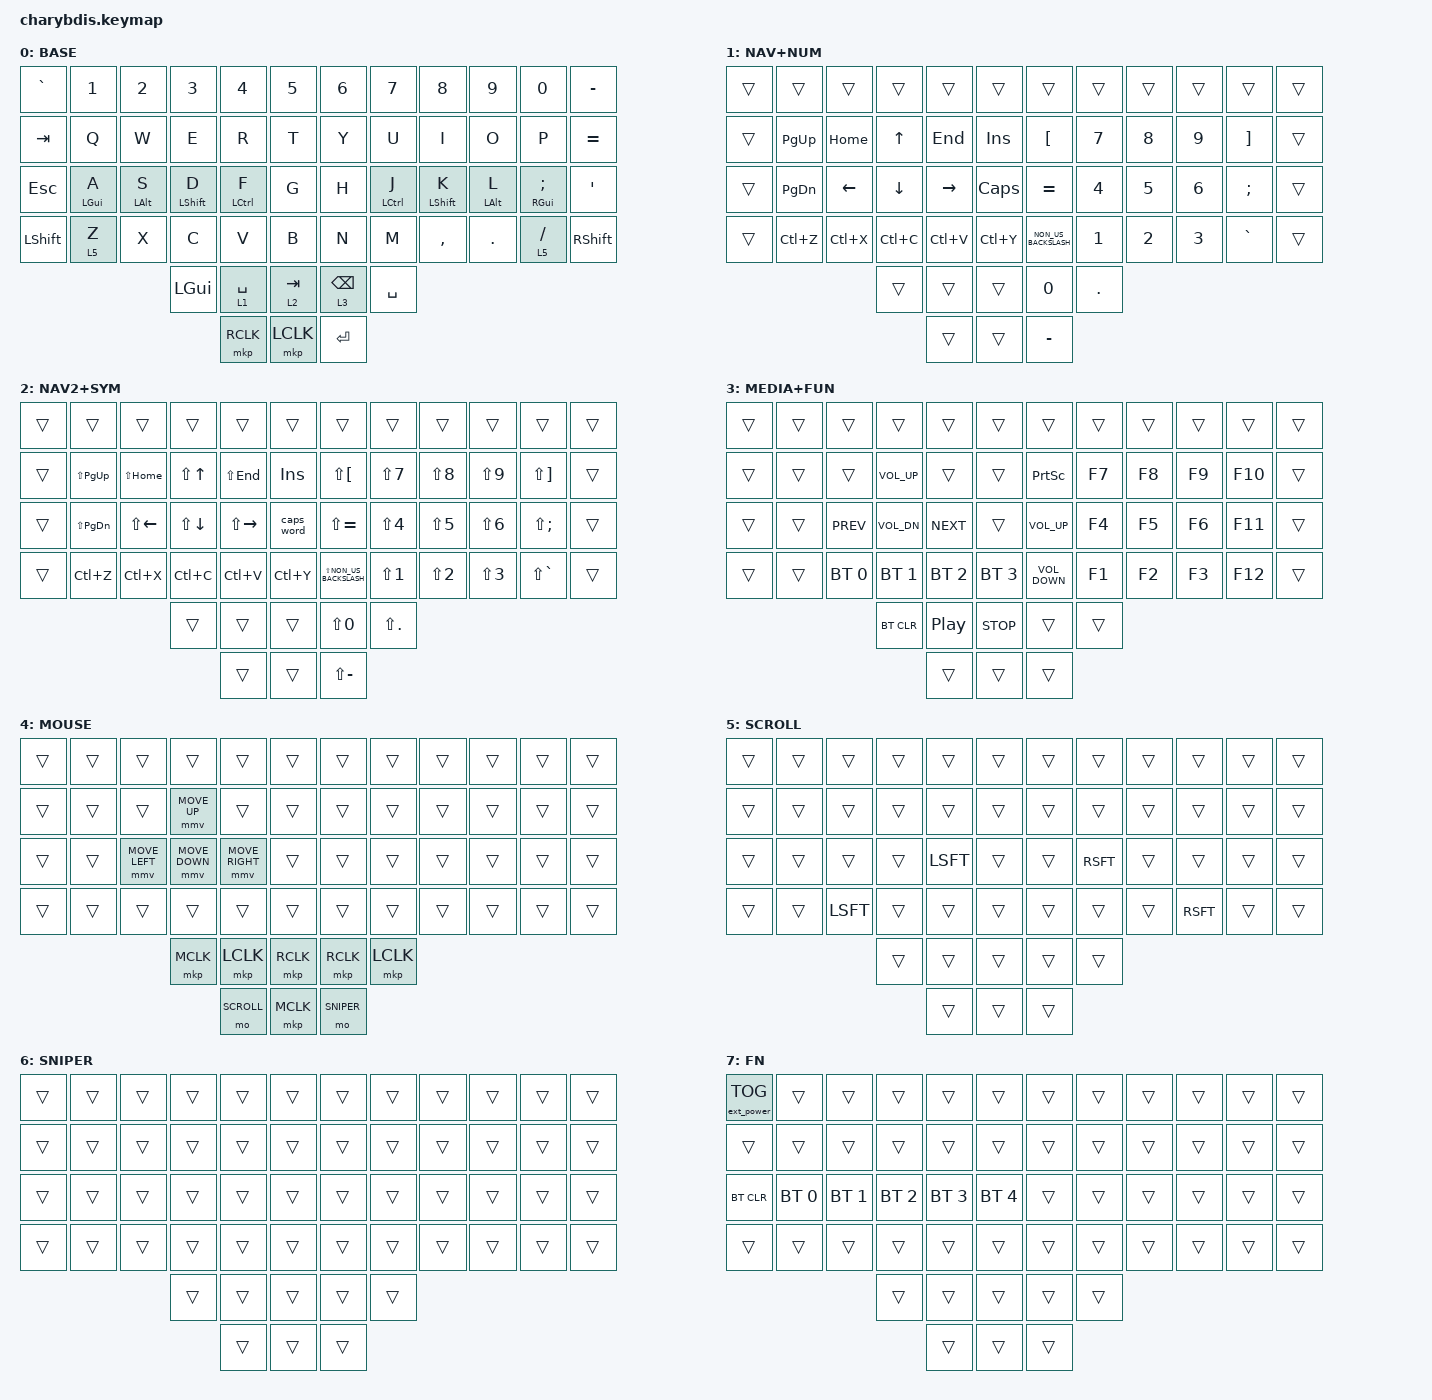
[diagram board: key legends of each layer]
#include <dt-bindings/zmk/mouse.h>
#include <behaviors/mouse_keys.dtsi>
#include <behaviors.dtsi>
#include <dt-bindings/zmk/bt.h>
#include <dt-bindings/zmk/ext_power.h>
#include <dt-bindings/zmk/keys.h>
#include <dt-bindings/zmk/pointing.h>

// ──────────────────────────────────────────────
// Layer indices
// ──────────────────────────────────────────────

#define BASE    0   // QWERTY + HRM
#define LAYER_A 1   // hold SPACE  → NAV1 (esq) + NUM (dir)
#define LAYER_B 2   // hold TAB    → NAV2+Shift (esq) + SYM (dir)
#define LAYER_C 3   // hold BSPC   → MEDIA (esq) + FUN (dir)
#define MOUSE   4   // acionado pela trackball
#define SCROLL  5   // trackball scroll
#define SNIPER  6   // trackball snipe
#define FN      7   // Bluetooth / sistema

// ──────────────────────────────────────────────
// Key positions (Charybdis 4x6)
//
// ╭──────────────────────────╮ ╭──────────────────────────╮
// │  0   1   2   3   4   5  │ │  6   7   8   9  10  11   │
// │ 12  13  14  15  16  17  │ │ 18  19  20  21  22  23   │
// │ 24  25  26  27  28  29  │ │ 30  31  32  33  34  35   │
// │ 36  37  38  39  40  41  │ │ 42  43  44  45  46  47   │
// │          48  49  50     │ │ 51  52                   │
// │              53  54     │ │ 55                       │
// ╰──────────────────────────╯ ╰──────────────────────────╯
//
// QWERTY:
// Row0:  `(0)  1(1)  2(2)  3(3)  4(4)  5(5)  |  6(6)  7(7)  8(8)  9(9)  0(10) -(11)
// Row1: Tab(12) Q(13) W(14) E(15) R(16) T(17) |  Y(18) U(19) I(20) O(21) P(22) =(23)
// Row2: Esc(24) A(25) S(26) D(27) F(28) G(29) |  H(30) J(31) K(32) L(33) ;(34) '(35)
// Row3: Sft(36) Z(37) X(38) C(39) V(40) B(41) |  N(42) M(43) ,(44) .(45) /(46) Sft(47)
// ThumbL:              48    49    50           |  51    52
// ThumbL2:                   53    54           |  55
// ──────────────────────────────────────────────

/ {
    // ── Trackball listeners ──────────────────────────────────────

    trackball_listener {
        compatible = "zmk,input-behavior-listener";
        device = <&vtrackball>;
        layers = <BASE MOUSE FN>;
        evt-type = <INPUT_EV_REL>;
        x-input-code = <INPUT_REL_X>;
        y-input-code = <INPUT_REL_Y>;
        scale-multiplier = <1>;
        scale-divisor = <2>;
    };

    trackball_snipe_listener {
        compatible = "zmk,input-behavior-listener";
        device = <&vtrackball>;
        layers = <SNIPER>;
        evt-type = <INPUT_EV_REL>;
        x-input-code = <INPUT_REL_X>;
        y-input-code = <INPUT_REL_Y>;
        scale-multiplier = <1>;
        scale-divisor = <4>;
    };

    trackball_scroll_listener {
        compatible = "zmk,input-behavior-listener";
        device = <&vtrackball>;
        layers = <SCROLL>;
        evt-type = <INPUT_EV_REL>;
        x-input-code = <INPUT_REL_MISC>;
        y-input-code = <INPUT_REL_WHEEL>;
        y-invert;
        bindings = <&ib_wheel_scaler 1 14>;
    };

    ib_wheel_scaler: ib_wheel_scaler {
        compatible = "zmk,input-behavior-scaler";
        #binding-cells = <2>;
        evt-type = <INPUT_EV_REL>;
        input-code = <INPUT_REL_WHEEL>;
    };

    ib_toggle_layer: ib_toggle_layer {
        compatible = "zmk,input-behavior-tog-layer";
        #binding-cells = <1>;
        time-to-live-ms = <750>;
    };

    // ── Combos ──────────────────────────────────────────────────

    combos {
        compatible = "zmk,combos";

        // ════════════════════════════════════════
        // SEUS COMBOS PESSOAIS (horizontais)
        // ════════════════════════════════════════
        // `(0) + 1(1) = ESC
        // H(30) + J(31) = -

        combo_minus {
            bindings = <&kp MINUS>;
            key-positions = <30 31>;
            layers = <BASE LAYER_A LAYER_B LAYER_C>;
            timeout-ms = <40>;
        };

        // J(31) + K(32) = )

        combo_rpar {
            bindings = <&kp RPAR>;
            key-positions = <31 32>;
            layers = <BASE LAYER_A LAYER_B LAYER_C>;
            timeout-ms = <40>;
        };

        // K(32) + L(33) = ]

        combo_rbkt {
            bindings = <&kp RBKT>;
            key-positions = <32 33>;
            layers = <BASE LAYER_A LAYER_B LAYER_C>;
            timeout-ms = <40>;
        };

        // N(42) + M(43) = _

        combo_under {
            bindings = <&kp UNDER>;
            key-positions = <42 43>;
            layers = <BASE LAYER_A LAYER_B LAYER_C>;
            timeout-ms = <40>;
        };

        // F(28) + D(27) = (

        combo_lpar {
            bindings = <&kp LPAR>;
            key-positions = <27 28>;
            layers = <BASE LAYER_A LAYER_B LAYER_C>;
            timeout-ms = <40>;
        };

        // D(27) + S(26) = [

        combo_lbkt {
            bindings = <&kp LBKT>;
            key-positions = <26 27>;
            layers = <BASE LAYER_A LAYER_B LAYER_C>;
            timeout-ms = <40>;
        };

        // V(40) + B(41) = =

        combo_equal {
            bindings = <&kp EQUAL>;
            key-positions = <40 41>;
            layers = <BASE LAYER_A LAYER_B LAYER_C>;
            timeout-ms = <40>;
        };

        // V(40) + C(39) = Backspace
        // C(39) + X(38) = Del
        // ════════════════════════════════════════
        // COMBOS UROB HORIZONTAIS — esquerda
        // ════════════════════════════════════════
        // W(14) + E(15) = Tab
        // R(16) + T(17) = Caps Word

        combo_caps_word {
            bindings = <&caps_word>;
            key-positions = <28 29>;
            layers = <BASE>;
            timeout-ms = <40>;
        };

        // X(38) + V(40) = Cut

        combo_cut {
            bindings = <&kp LC(X)>;
            key-positions = <38 40>;
            layers = <BASE LAYER_A LAYER_B LAYER_C>;
            timeout-ms = <40>;
        };

        // X(38) + C(39) = Copy

        combo_copy {
            bindings = <&kp LC(C)>;
            key-positions = <38 39>;
            layers = <BASE LAYER_A LAYER_B LAYER_C>;
            timeout-ms = <40>;
        };

        // C(39) + V(40) = Paste

        combo_paste {
            bindings = <&kp LC(V)>;
            key-positions = <39 40>;
            layers = <BASE LAYER_A LAYER_B LAYER_C>;
            timeout-ms = <40>;
        };

        // ════════════════════════════════════════
        // COMBOS UROB HORIZONTAIS — direita
        // ════════════════════════════════════════
        // U(19) + I(20) = Backspace

        combo_bspc_ui {
            bindings = <&kp BSPC>;
            key-positions = <19 20>;
            layers = <BASE LAYER_A LAYER_B LAYER_C>;
            timeout-ms = <40>;
        };

        // I(20) + O(21) = Delete

        combo_del_io {
            bindings = <&kp DEL>;
            key-positions = <20 21>;
            layers = <BASE LAYER_A LAYER_B LAYER_C>;
            timeout-ms = <40>;
        };

        // M(43) + ,(44) = <

        combo_lt {
            bindings = <&kp LT>;
            key-positions = <43 44>;
            layers = <BASE LAYER_A LAYER_B LAYER_C>;
            timeout-ms = <40>;
        };

        // ,(44) + .(45) = >

        combo_gt {
            bindings = <&kp GT>;
            key-positions = <44 45>;
            layers = <BASE LAYER_A LAYER_B LAYER_C>;
            timeout-ms = <40>;
        };

        // ════════════════════════════════════════
        // COMBOS UROB VERTICAIS — esquerda
        // timeout maior + require-prior-idle
        // ════════════════════════════════════════
        // W(14) + S(26) = @

        combo_at {
            bindings = <&kp AT>;
            key-positions = <14 26>;
            layers = <BASE LAYER_A LAYER_B LAYER_C>;
            timeout-ms = <50>;
            require-prior-idle-ms = <125>;
        };

        // E(15) + D(27) = #

        combo_hash {
            bindings = <&kp HASH>;
            key-positions = <15 27>;
            layers = <BASE LAYER_A LAYER_B LAYER_C>;
            timeout-ms = <50>;
            require-prior-idle-ms = <125>;
        };

        // R(16) + F(28) = $

        combo_dllr {
            bindings = <&kp DLLR>;
            key-positions = <16 28>;
            layers = <BASE LAYER_A LAYER_B LAYER_C>;
            timeout-ms = <50>;
            require-prior-idle-ms = <125>;
        };

        // T(17) + G(29) = %

        combo_prcnt {
            bindings = <&kp PRCNT>;
            key-positions = <17 29>;
            layers = <BASE LAYER_A LAYER_B LAYER_C>;
            timeout-ms = <50>;
            require-prior-idle-ms = <125>;
        };

        // S(26) + X(38) = ` grave

        combo_grave {
            bindings = <&kp GRAVE>;
            key-positions = <26 38>;
            layers = <BASE LAYER_A LAYER_B LAYER_C>;
            timeout-ms = <50>;
            require-prior-idle-ms = <125>;
        };

        // D(27) + C(39) = backslash

        combo_bslh {
            bindings = <&kp BSLH>;
            key-positions = <27 39>;
            layers = <BASE LAYER_A LAYER_B LAYER_C>;
            timeout-ms = <50>;
            require-prior-idle-ms = <125>;
        };

        // F(28) + V(40) = =

        combo_equal_v {
            bindings = <&kp EQUAL>;
            key-positions = <28 40>;
            layers = <BASE LAYER_A LAYER_B LAYER_C>;
            timeout-ms = <50>;
            require-prior-idle-ms = <125>;
        };

        // G(29) + B(41) = ~

        combo_tilde {
            bindings = <&kp TILDE>;
            key-positions = <29 41>;
            layers = <BASE LAYER_A LAYER_B LAYER_C>;
            timeout-ms = <50>;
            require-prior-idle-ms = <125>;
        };

        // ════════════════════════════════════════
        // COMBOS UROB VERTICAIS — direita
        // ════════════════════════════════════════
        // Y(18) + H(30) = ^

        combo_caret {
            bindings = <&kp CARET>;
            key-positions = <18 30>;
            layers = <BASE LAYER_A LAYER_B LAYER_C>;
            timeout-ms = <50>;
            require-prior-idle-ms = <125>;
        };

        // U(19) + J(31) = +

        combo_plus {
            bindings = <&kp PLUS>;
            key-positions = <19 31>;
            layers = <BASE LAYER_A LAYER_B LAYER_C>;
            timeout-ms = <50>;
            require-prior-idle-ms = <125>;
        };

        // I(20) + K(32) = *

        combo_star {
            bindings = <&kp STAR>;
            key-positions = <20 32>;
            layers = <BASE LAYER_A LAYER_B LAYER_C>;
            timeout-ms = <50>;
            require-prior-idle-ms = <125>;
        };

        // O(21) + L(33) = &

        combo_amps {
            bindings = <&kp AMPS>;
            key-positions = <21 33>;
            layers = <BASE LAYER_A LAYER_B LAYER_C>;
            timeout-ms = <50>;
            require-prior-idle-ms = <125>;
        };

        // M(43) + K(32) = _

        combo_under_v {
            bindings = <&kp UNDER>;
            key-positions = <30 42>;
            layers = <BASE LAYER_A LAYER_B LAYER_C>;
            timeout-ms = <50>;
            require-prior-idle-ms = <125>;
        };

        // J(31) + M(43) = -

        combo_minus_v {
            bindings = <&kp MINUS>;
            key-positions = <31 43>;
            layers = <BASE LAYER_A LAYER_B LAYER_C>;
            timeout-ms = <50>;
            require-prior-idle-ms = <125>;
        };

        // K(32) + ,(44) = /

        combo_fslh {
            bindings = <&kp FSLH>;
            key-positions = <32 44>;
            layers = <BASE LAYER_A LAYER_B LAYER_C>;
            timeout-ms = <50>;
            require-prior-idle-ms = <125>;
        };

        // L(33) + .(45) = |

        combo_pipe {
            bindings = <&kp PIPE>;
            key-positions = <33 45>;
            layers = <BASE LAYER_A LAYER_B LAYER_C>;
            timeout-ms = <50>;
            require-prior-idle-ms = <125>;
        };

        // ════════════════════════════════════════
        // MOUSE CLICKS
        // ════════════════════════════════════════
        // Dentro da MOUSE layer
    };

    // ── Behaviors ───────────────────────────────────────────────

    behaviors {
        hmr: hmr {
            compatible = "zmk,behavior-hold-tap";
            label = "HMR";
            bindings = <&kp>, <&kp>;

            #binding-cells = <2>;
            tapping-term-ms = <190>;
            quick-tap-ms = <175>;
            flavor = "balanced";
            hold-trigger-key-positions = <
                0  1  2  3  4  5
               12 13 14 15 16 17
               24 25 26 27 28 29
               36 37 38 39 40 41
               48 49 50 53 54
            >;

            hold-trigger-on-release;
        };

        hml: hml {
            compatible = "zmk,behavior-hold-tap";
            label = "HML";
            bindings = <&kp>, <&kp>;

            #binding-cells = <2>;
            tapping-term-ms = <190>;
            quick-tap-ms = <175>;
            flavor = "balanced";
            hold-trigger-key-positions = <
                6  7  8  9 10 11
               18 19 20 21 22 23
               30 31 32 33 34 35
               42 43 44 45 46 47
               51 52 55
            >;

            hold-trigger-on-release;
        };
    };

    // ── Keymap ──────────────────────────────────────────────────

    keymap {
        compatible = "zmk,keymap";

        // ── 0: BASE ─────────────────────────────────────────────
        // QWERTY + home row mods
        // ThumbL: LGUI | [A/SPC] | [B/TAB]
        // ThumbR: RET  | [C/BSPC] | trackball→MOUSE

        base_layer {
            label = "BASE";
            bindings = <
&kp GRAVE       &kp N1       &kp N2       &kp N3             &kp N4               &kp N5       &kp N6      &kp N7               &kp N8             &kp N9           &kp N0          &kp MINUS
&kp TAB         &kp Q        &kp W        &kp E              &kp R                &kp T        &kp Y       &kp U                &kp I              &kp O            &kp P           &kp EQUAL
&kp ESC         &hml LGUI A  &hml LALT S  &hml LEFT_SHIFT D  &hml LEFT_CONTROL F  &kp G        &kp H       &hmr LEFT_CONTROL J  &hmr LEFT_SHIFT K  &hmr LEFT_ALT L  &hmr RGUI SEMI  &kp SQT
&kp LEFT_SHIFT  &lt 5 Z      &kp X        &kp C              &kp V                &kp B        &kp N       &kp M                &kp COMMA          &kp DOT          &lt 5 FSLH      &kp RIGHT_SHIFT
                                          &kp LGUI           &lt 1 SPACE          &lt 2 TAB    &lt 3 BSPC  &kp SPACE
                                                             &mkp RCLK            &mkp LCLK    &kp ENTER
            >;
        };

        // ── 1: LAYER_A — hold SPACE ──────────────────────────────
        // Esquerda: NAV1 — Inverted-T (setas normais)
        //           PgUp/PgDn acima/abaixo do UP
        //           Home/End nos lados do DOWN
        //           Undo/Cut/Copy/Paste/Redo na bottom row
        // Direita:  NUM — numpad Miryoku FLIP
        //           7 8 9 / 4 5 6 / 1 2 3 / 0 . Enter

        layer_a {
            label = "NAV+NUM";
            bindings = <
&trans  &trans     &trans     &trans     &trans     &trans          &trans                &trans      &trans  &trans  &trans             &trans
&trans  &kp PG_UP  &kp HOME   &kp UP     &kp END    &kp INS         &kp LEFT_BRACKET      &kp N7      &kp N8  &kp N9  &kp RIGHT_BRACKET  &trans
&trans  &kp PG_DN  &kp LEFT   &kp DOWN   &kp RIGHT  &kp CAPSLOCK    &kp EQUAL             &kp N4      &kp N5  &kp N6  &kp SEMICOLON      &trans
&trans  &kp LC(Z)  &kp LC(X)  &kp LC(C)  &kp LC(V)  &kp LC(Y)       &kp NON_US_BACKSLASH  &kp N1      &kp N2  &kp N3  &kp GRAVE          &trans
                              &trans     &trans     &trans          &kp N0                &kp PERIOD
                                         &trans     &trans          &kp MINUS
            >;
        };

        // ── 2: LAYER_B — hold TAB ────────────────────────────────
        // Esquerda: NAV2 — Inverted-T com Shift (seleção)
        //           mesmas posições do NAV1 mas com Shift
        // Direita:  SYM — símbolos Miryoku FLIP

        layer_b {
            label = "NAV2+SYM";
            bindings = <
&trans  &trans         &trans        &trans        &trans         &trans        &trans                    &trans          &trans      &trans      &trans                 &trans
&trans  &kp LS(PG_UP)  &kp LS(HOME)  &kp LS(UP)    &kp LS(END)    &kp INS       &kp LS(LEFT_BRACKET)      &kp LS(N7)      &kp LS(N8)  &kp LS(N9)  &kp LS(RIGHT_BRACKET)  &trans
&trans  &kp LS(PG_DN)  &kp LS(LEFT)  &kp LS(DOWN)  &kp LS(RIGHT)  &caps_word    &kp LS(EQUAL)             &kp LS(N4)      &kp LS(N5)  &kp LS(N6)  &kp LS(SEMICOLON)      &trans
&trans  &kp LC(Z)      &kp LC(X)     &kp LC(C)     &kp LC(V)      &kp LC(Y)     &kp LS(NON_US_BACKSLASH)  &kp LS(N1)      &kp LS(N2)  &kp LS(N3)  &kp LS(GRAVE)          &trans
                                     &trans        &trans         &trans        &kp LS(N0)                &kp LS(PERIOD)
                                                   &trans         &trans        &kp LS(MINUS)
            >;
        };

        // ── 3: LAYER_C — hold BSPC ───────────────────────────────
        // Esquerda: MEDIA — controles de mídia + Bluetooth
        // Direita:  FUN   — F1-F12 Miryoku FLIP

        layer_c {
            label = "MEDIA+FUN";
            bindings = <
&trans  &trans  &trans        &trans           &trans        &trans          &trans             &trans  &trans  &trans  &trans   &trans
&trans  &trans  &trans        &kp C_VOLUME_UP  &trans        &trans          &kp PRINTSCREEN    &kp F7  &kp F8  &kp F9  &kp F10  &trans
&trans  &trans  &kp C_PREV    &kp C_VOL_DN     &kp C_NEXT    &trans          &kp C_VOLUME_UP    &kp F4  &kp F5  &kp F6  &kp F11  &trans
&trans  &trans  &bt BT_SEL 0  &bt BT_SEL 1     &bt BT_SEL 2  &bt BT_SEL 3    &kp C_VOLUME_DOWN  &kp F1  &kp F2  &kp F3  &kp F12  &trans
                              &bt BT_CLR       &kp C_PP      &kp C_STOP      &trans             &trans
                                               &trans        &trans          &trans
            >;
        };

        // ── 4: MOUSE — acionado pela trackball ───────────────────
        // Esquerda: mouse keys Miryoku
        // Direita:  atalhos sniper/scroll via combos

        mouse_layer {
            label = "MOUSE";
            bindings = <
&trans  &trans  &trans          &trans          &trans           &trans       &trans      &trans     &trans  &trans  &trans  &trans
&trans  &trans  &trans          &mmv MOVE_UP    &trans           &trans       &trans      &trans     &trans  &trans  &trans  &trans
&trans  &trans  &mmv MOVE_LEFT  &mmv MOVE_DOWN  &mmv MOVE_RIGHT  &trans       &trans      &trans     &trans  &trans  &trans  &trans
&trans  &trans  &trans          &trans          &trans           &trans       &trans      &trans     &trans  &trans  &trans  &trans
                                &mkp MCLK       &mkp LCLK        &mkp RCLK    &mkp RCLK   &mkp LCLK
                                                &mo SCROLL       &mkp MCLK    &mo SNIPER
            >;
        };

        // ── 5: SCROLL — mantido do noph ──────────────────────────

        scroll_layer {
            label = "SCROLL";
            bindings = <
&trans  &trans  &trans    &trans  &trans    &trans    &trans  &trans    &trans  &trans    &trans  &trans
&trans  &trans  &trans    &trans  &trans    &trans    &trans  &trans    &trans  &trans    &trans  &trans
&trans  &trans  &trans    &trans  &kp LSFT  &trans    &trans  &kp RSFT  &trans  &trans    &trans  &trans
&trans  &trans  &kp LSFT  &trans  &trans    &trans    &trans  &trans    &trans  &kp RSFT  &trans  &trans
                          &trans  &trans    &trans    &trans  &trans
                                  &trans    &trans    &trans
            >;
        };

        // ── 6: SNIPER — mantido do noph ──────────────────────────

        sniper_layer {
            label = "SNIPER";
            bindings = <
&trans  &trans  &trans  &trans  &trans  &trans    &trans  &trans  &trans  &trans  &trans  &trans
&trans  &trans  &trans  &trans  &trans  &trans    &trans  &trans  &trans  &trans  &trans  &trans
&trans  &trans  &trans  &trans  &trans  &trans    &trans  &trans  &trans  &trans  &trans  &trans
&trans  &trans  &trans  &trans  &trans  &trans    &trans  &trans  &trans  &trans  &trans  &trans
                        &trans  &trans  &trans    &trans  &trans
                                &trans  &trans    &trans
            >;
        };

        // ── 7: FN — Bluetooth e sistema ──────────────────────────

        fn_layer {
            label = "FN";
            bindings = <
&ext_power EP_TOG  &trans        &trans        &trans        &trans        &trans          &trans  &trans  &trans  &trans  &trans  &trans
&trans             &trans        &trans        &trans        &trans        &trans          &trans  &trans  &trans  &trans  &trans  &trans
&bt BT_CLR         &bt BT_SEL 0  &bt BT_SEL 1  &bt BT_SEL 2  &bt BT_SEL 3  &bt BT_SEL 4    &trans  &trans  &trans  &trans  &trans  &trans
&trans             &trans        &trans        &trans        &trans        &trans          &trans  &trans  &trans  &trans  &trans  &trans
                                               &trans        &trans        &trans          &trans  &trans
                                                             &trans        &trans          &trans
            >;
        };
    };
};
